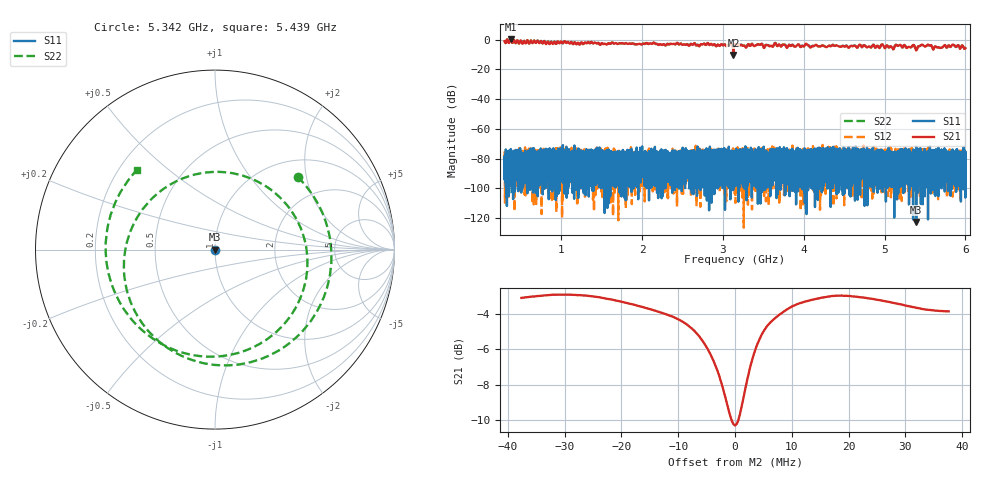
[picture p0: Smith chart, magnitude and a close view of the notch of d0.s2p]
!Agilent Technologies,N5230C,SG49000117,A.08.50.07
!Agilent N5230C: A.08.50.07
!Date: Monday, March 18, 2024 18:44:38
!Correction: S11(Off)
!S21(Off)
!S12(Off)
!S22(Off)
!S2P File: Measurements: S11, S21, S12, S22:
# Hz S  RI  R 50
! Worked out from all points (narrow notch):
!   20001 points, 300 MHz to 6 GHz, reference 50 ohm
!   highest |S21| = 0.41 dB at 374.4 MHz (marker M1); lowest = -10.3 dB at 3.131 GHz (marker M2)
!   notch at M2: 6.9 dB deep, 6.31 MHz wide at half that depth
!   lowest |S11| = -122.6 dB at 5.392 GHz (marker M3), VSWR 1.00, Z = 50 + j1.56e-05 ohm
!   |S11| at or under -10 dB: start of sweep to end of sweep
!   |S22| runs from -10.3 to 0.4 dB; largest |S21 - S12| = 1
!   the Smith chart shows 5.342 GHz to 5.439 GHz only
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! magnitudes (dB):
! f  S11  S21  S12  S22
! 300 MHz  -78.8  -0.9  -85.5  -0.9
! 374.4 MHz  -82.2  0.4  -79.1  0.4
! 1.25 GHz  -84.0  -1.8  -83.2  -1.8
! 2.2 GHz  -86.9  -3.5  -78.4  -3.5
! 2.831 GHz  -83.5  -3.5  -80.4  -3.4
! 3.131 GHz  -81.5  -10.3  -90.4  -10.3
! 3.15 GHz  -77.1  -3.0  -84.5  -2.9
! 3.46 GHz  -94.1  -3.5  -80.8  -3.5
! 3.979 GHz  -79.0  -4.1  -87.1  -4.1
! 4.038 GHz  -89.1  -3.0  -75.2  -2.9
! 4.1 GHz  -85.3  -4.5  -90.9  -4.4
! 5.05 GHz  -82.3  -5.1  -88.0  -5.1
! 5.099 GHz  -85.7  -6.0  -85.9  -5.9
! 5.172 GHz  -79.2  -4.1  -79.8  -4.1
! 5.392 GHz  -122.6  -7.3  -84.7  -7.3
! 5.46 GHz  -88.6  -3.4  -74.6  -3.4
! 5.555 GHz  -82.6  -3.9  -77.5  -4.0
! 5.617 GHz  -81.3  -5.0  -82.1  -5.1
! 5.848 GHz  -75.2  -3.3  -81.9  -3.4
! 5.927 GHz  -79.9  -5.6  -77.2  -5.6
! 5.971 GHz  -79.4  -4.5  -88.5  -4.6
! 6 GHz  -75.6  -5.7  -84.1  -5.7
